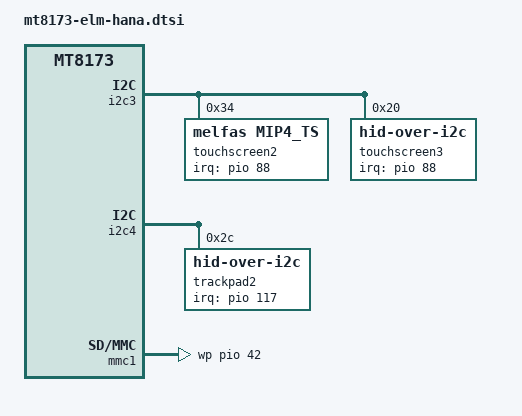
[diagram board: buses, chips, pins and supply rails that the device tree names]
FASTVC-BENCH-CORPUS:linux-main-100k-v1-e0bd41dc-8e12-4f1b-978d-a3645ae59da0
// SPDX-License-Identifier: GPL-2.0-only
/*
 * Copyright 2016 MediaTek Inc.
 */

#include "mt8173-elm.dtsi"

&i2c0 {
	clock-frequency = <200000>;
};

&i2c3 {
	touchscreen2: touchscreen@34 {
		compatible = "melfas,mip4_ts";
		reg = <0x34>;
		interrupt-parent = <&pio>;
		interrupts = <88 IRQ_TYPE_LEVEL_LOW>;
	};

	/*
	 * Lenovo 100e Chromebook 2nd Gen (MTK) and Lenovo 300e Chromebook 2nd
	 * Gen (MTK) are using synaptics touchscreen (hid-over-i2c driver) as a
	 * second source touchscreen.
	 */
	touchscreen3: touchscreen@20 {
		compatible = "hid-over-i2c";
		reg = <0x20>;
		hid-descr-addr = <0x0020>;
		interrupt-parent = <&pio>;
		interrupts = <88 IRQ_TYPE_LEVEL_LOW>;
	};
};

&i2c4 {
	/*
	 * Lenovo 100e Chromebook 2nd Gen (MTK) and Lenovo 300e Chromebook 2nd
	 * Gen (MTK) are using synaptics trackpad (hid-over-i2c driver) as a
	 * second source trackpad.
	 */
	trackpad2: trackpad@2c {
		compatible = "hid-over-i2c";
		interrupt-parent = <&pio>;
		interrupts = <117 IRQ_TYPE_LEVEL_LOW>;
		reg = <0x2c>;
		hid-descr-addr = <0x0020>;
		wakeup-source;
	};
};

&mmc1 {
	wp-gpios = <&pio 42 GPIO_ACTIVE_HIGH>;
};
/* bench 5398.1.0 5f5d4b9259f5 */
/* bench 5398.1.1 8c7920675f39 */
/* bench 5398.1.2 ddf04bfe8e4a */
/* bench 5398.1.3 26b337819931 */
/* bench 5398.1.4 8e22e7918ce2 */
/* bench 5398.1.5 084f4c81fbde */

&pio {
	hdmi_mux_pins: hdmi_mux_pins {
		pins2 {
			pinmux = <MT8173_PIN_98_URTS1__FUNC_GPIO98>;
			bias-pull-up;
			output-high;
		};
	};

	mmc1_pins_default: mmc1default {
		pins_wp {
			pinmux = <MT8173_PIN_42_DSI_TE__FUNC_GPIO42>;
/* bench 13557.0.0 96b29b01d67c */
/* bench 13557.0.1 52fc361af6fe */
/* bench 13538.0.1 68d40d831cb5 */
/* bench 13538.0.2 a9de96e85594 */
/* bench 13538.0.3 1a6a159318e4 */
/* bench 13538.0.4 27a08a0e319b */
/* bench 13538.0.5 f777b4aad40d */
/* bench 13538.0.6 844695492f51 */
/* bench 13538.0.7 06656a2227ff */
/* bench 13538.0.8 d5f4e9f94808 */
/* bench 13538.0.9 af7916557386 */
/* bench 13538.0.10 ecb340127d5f */
/* bench 13538.0.11 b02c4b4ad2ee */
		};
	};
};
